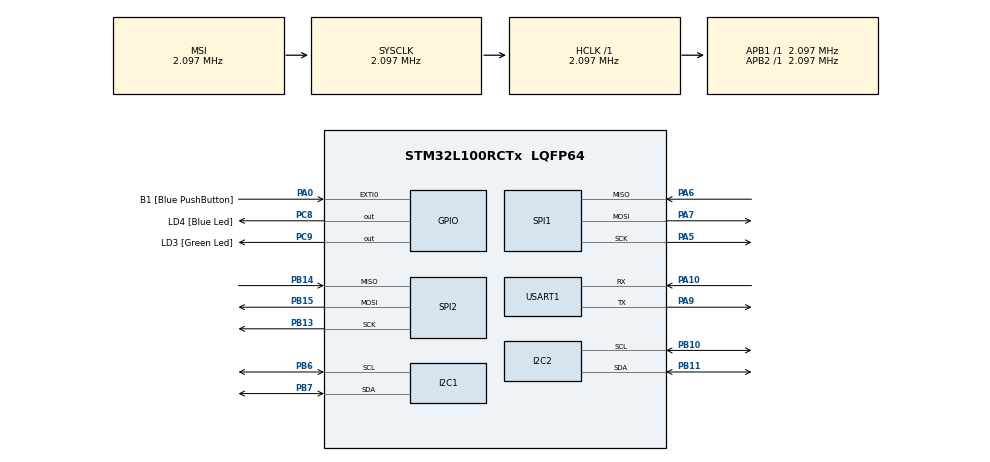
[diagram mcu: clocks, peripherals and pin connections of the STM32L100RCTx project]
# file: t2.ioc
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Mcu.Family=STM32L1
Mcu.Name=STM32L100RCTx
Mcu.Package=LQFP64
NVIC.PriorityGroup=NVIC_PRIORITYGROUP_0
PA0-WKUP1.GPIO_Label=B1 [Blue PushButton]
PA0-WKUP1.Signal=GPXTI0
PA10.Mode=Asynchronous
PA10.Signal=USART1_RX
PA13.GPIO_Label=SWDIO
PA13.Mode=Trace-Asynchronous_SW
PA13.Signal=SYS_JTMS-SWDIO
PA14.GPIO_Label=SWCLK
PA14.Mode=Trace-Asynchronous_SW
PA14.Signal=SYS_JTCK-SWCLK
PA5.Mode=Full_Duplex_Master
PA5.Signal=SPI1_SCK
PA6.Mode=Full_Duplex_Master
PA6.Signal=SPI1_MISO
PA7.Mode=Full_Duplex_Master
PA7.Signal=SPI1_MOSI
PA9.Mode=Asynchronous
PA9.Signal=USART1_TX
PB10.Mode=I2C
PB10.Signal=I2C2_SCL
PB11.Mode=I2C
PB11.Signal=I2C2_SDA
PB13.Mode=Full_Duplex_Master
PB13.Signal=SPI2_SCK
PB14.Mode=Full_Duplex_Master
PB14.Signal=SPI2_MISO
PB15.Mode=Full_Duplex_Master
PB15.Signal=SPI2_MOSI
PB3.GPIO_Label=SWO
PB3.Mode=Trace-Asynchronous_SW
PB3.Signal=SYS_JTDO-TRACESWO
PB6.Mode=I2C
PB6.Signal=I2C1_SCL
PB7.Mode=I2C
PB7.Signal=I2C1_SDA
PC14-OSC32_IN.GPIO_Label=PC14-OSC32_IN
PC14-OSC32_IN.Signal=RCC_OSC32_IN
PC15-OSC32_OUT.GPIO_Label=PC15-OSC32_OUT
PC15-OSC32_OUT.Signal=RCC_OSC32_OUT
PC8.GPIO_Label=LD4 [Blue Led]
PC8.Signal=GPIO_Output
PC9.GPIO_Label=LD3 [Green Led]
PC9.Signal=GPIO_Output
PH0-OSC_IN.GPIO_Label=PH0-OSC_IN
PH0-OSC_IN.Mode=HSE-External-Clock-Source
PH0-OSC_IN.Signal=RCC_OSC_IN
PH1-OSC_OUT.GPIO_Label=PH1-OSC_OUT
PH1-OSC_OUT.Signal=RCC_OSC_OUT
ProjectManager.TargetToolchain=TrueSTUDIO 4.3.1
RCC.AHBFreq_Value=2097000
RCC.APB1Freq_Value=2097000
RCC.APB1TimFreq_Value=2097000
RCC.APB2Freq_Value=2097000
RCC.APB2TimFreq_Value=2097000
RCC.HCLKFreq_Value=2097000
RCC.HSE_VALUE=8000000
RCC.HSI_VALUE=16000000
RCC.LSEState=RCC_LSE_ON
RCC.LSE_VALUE=32768
RCC.MSI_VALUE=2097000
RCC.PLLDIV=RCC_PLL_DIV3
RCC.PLLMUL=RCC_PLL_MUL12
RCC.PLLSourceVirtual=RCC_PLLSOURCE_HSE
RCC.SYSCLKFreq_VALUE=2097000
RCC.USBOutput=48000000
RCC.VCOOutputFreq_Value=96000000
SPI1.CalculateBaudRate-Full_Duplex_Master=1.0485 MBits/s
SPI1.Mode-Full_Duplex_Master=SPI_MODE_MASTER
SPI2.CalculateBaudRate-Full_Duplex_Master=1.0485 MBits/s
SPI2.Mode-Full_Duplex_Master=SPI_MODE_MASTER

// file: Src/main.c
/**
  ******************************************************************************
  * File Name          : main.c
  * Date               : 09/01/2015 01:42:14
  * Description        : Main program body
  ******************************************************************************
  *
  * COPYRIGHT(c) 2015 STMicroelectronics
  *
  * Redistribution and use in source and binary forms, with or without modification,
  * are permitted provided that the following conditions are met:
  *   1. Redistributions of source code must retain the above copyright notice,
  *      this list of conditions and the following disclaimer.
  *   2. Redistributions in binary form must reproduce the above copyright notice,
  *      this list of conditions and the following disclaimer in the documentation
  *      and/or other materials provided with the distribution.
  *   3. Neither the name of STMicroelectronics nor the names of its contributors
  *      may be used to endorse or promote products derived from this software
  *      without specific prior written permission.
  *
  * THIS SOFTWARE IS PROVIDED BY THE COPYRIGHT HOLDERS AND CONTRIBUTORS "AS IS"
  * AND ANY EXPRESS OR IMPLIED WARRANTIES, INCLUDING, BUT NOT LIMITED TO, THE
  * IMPLIED WARRANTIES OF MERCHANTABILITY AND FITNESS FOR A PARTICULAR PURPOSE ARE
  * DISCLAIMED. IN NO EVENT SHALL THE COPYRIGHT HOLDER OR CONTRIBUTORS BE LIABLE
  * FOR ANY DIRECT, INDIRECT, INCIDENTAL, SPECIAL, EXEMPLARY, OR CONSEQUENTIAL
  * DAMAGES (INCLUDING, BUT NOT LIMITED TO, PROCUREMENT OF SUBSTITUTE GOODS OR
  * SERVICES; LOSS OF USE, DATA, OR PROFITS; OR BUSINESS INTERRUPTION) HOWEVER
  * CAUSED AND ON ANY THEORY OF LIABILITY, WHETHER IN CONTRACT, STRICT LIABILITY,
  * OR TORT (INCLUDING NEGLIGENCE OR OTHERWISE) ARISING IN ANY WAY OUT OF THE USE
  * OF THIS SOFTWARE, EVEN IF ADVISED OF THE POSSIBILITY OF SUCH DAMAGE.
  *
  ******************************************************************************
  */

#include "stm32l1xx_hal.h"

/* USER CODE BEGIN Includes */

#include <string.h>
#include <errno.h>
#include <sys/stat.h>
#include <sys/times.h>
#include <sys/unistd.h>
/* USER CODE END Includes */

I2C_HandleTypeDef hi2c1;
I2C_HandleTypeDef hi2c2;

SPI_HandleTypeDef hspi1;
SPI_HandleTypeDef hspi2;

UART_HandleTypeDef huart1;

void SystemClock_Config(void);
static void MX_GPIO_Init(void);
static void MX_I2C1_Init(void);
static void MX_I2C2_Init(void);
static void MX_SPI1_Init(void);
static void MX_SPI2_Init(void);
static void MX_USART1_UART_Init(void);

/* USER CODE BEGIN 0 */

#include <stdio.h>
#include <stdlib.h>

// nano lib stubs

extern void abort(void)
{
	__asm volatile ("bkpt #0");
	while(1);
}

extern caddr_t _sbrk(int incr);
caddr_t _sbrk(int incr)
{
    extern char _end; /* Defined by the linker */
    static char *heap_end= 0;
    char *prev_heap_end;
    if (heap_end == 0) {
        heap_end = &_end;
    }
    prev_heap_end = heap_end;
    char *stack=  (char *)__get_MSP();
    if (heap_end + incr >= stack) {
        //write (1, "Heap and stack collision\n", 25);
        abort ();
    }
    heap_end += incr;
    return (caddr_t) prev_heap_end;
}

/*
 isatty
 Query whether output stream is a terminal. For consistency with the other minimal implementations,
 */
int _isatty(int file) {
    switch (file){
    case STDOUT_FILENO:
    case STDERR_FILENO:
    case STDIN_FILENO:
        return 1;
    default:
        //errno = ENOTTY;
        errno = EBADF;
        return 0;
    }
}

/*
 fstat
 Status of an open file. For consistency with other minimal implementations in these examples,
 all files are regarded as character special devices.
 The `sys/stat.h' header file required is distributed in the `include' subdirectory for this C library.
 */
int _fstat(int file, struct stat *st) {
    st->st_mode = S_IFCHR;
    return 0;
}

/*
 lseek
 Set position in a file. Minimal implementation:
 */
int _lseek(int file, int ptr, int dir) {
    return 0;
}

int _close(int file) {
    return -1;
}

/*
 read
 Read a character to a file. `libc' subroutines will use this system routine for input from all files, including stdin
 Returns -1 on error or blocks until the number of characters have been read.
 */
int _read(int file, char *ptr, int len) {
    int num = 0;
    switch (file) {
    case STDIN_FILENO:
    	HAL_UART_Receive(&huart1, (uint8_t *)ptr, len, 10000);
 		num= len;
        break;
    default:
        errno = EBADF;
        return -1;
    }
    return num;
}

/*
 write
 Write a character to a file. `libc' subroutines will use this system routine for output to all files, including stdout
 Returns -1 on error or number of bytes sent
 */
int _write(int file, char *ptr, int len) {
    switch (file) {
    case STDOUT_FILENO: /*stdout*/
    case STDERR_FILENO: /* stderr */
    	HAL_UART_Transmit(&huart1, (uint8_t *)ptr, len, 10000);
        break;
    default:
        errno = EBADF;
        return -1;
    }
    return len;
}

/* USER CODE END 0 */

int main(void)
{

    /* MCU Configuration----------------------------------------------------------*/

    /* Reset of all peripherals, Initializes the Flash interface and the Systick. */
    HAL_Init();

    /* Configure the system clock */
    SystemClock_Config();

    /* Initialize all configured peripherals */
    MX_GPIO_Init();
    MX_I2C1_Init();
    MX_I2C2_Init();
    MX_SPI1_Init();
    MX_SPI2_Init();
    MX_USART1_UART_Init();

    /* USER CODE BEGIN 2 */

    extern void setup();
    extern void loop();
    extern void setupcpp();
    extern void loopcpp();

    setup();
    setupcpp();

    while(1) {
        loop();
        loopcpp();
    }

    /* USER CODE END 2 */

    while (1) {
    }

}

/** System Clock Configuration
*/
void SystemClock_Config(void)
{

    RCC_OscInitTypeDef RCC_OscInitStruct;
    RCC_ClkInitTypeDef RCC_ClkInitStruct;

    __PWR_CLK_ENABLE();

    __HAL_PWR_VOLTAGESCALING_CONFIG(PWR_REGULATOR_VOLTAGE_SCALE3);

    RCC_OscInitStruct.OscillatorType = RCC_OSCILLATORTYPE_MSI;
    RCC_OscInitStruct.MSIState = RCC_MSI_ON;
    RCC_OscInitStruct.MSICalibrationValue = 0;
    RCC_OscInitStruct.MSIClockRange = RCC_MSIRANGE_5;
    RCC_OscInitStruct.PLL.PLLState = RCC_PLL_NONE;
    HAL_RCC_OscConfig(&RCC_OscInitStruct);

    RCC_ClkInitStruct.ClockType = RCC_CLOCKTYPE_SYSCLK;
    RCC_ClkInitStruct.SYSCLKSource = RCC_SYSCLKSOURCE_MSI;
    RCC_ClkInitStruct.AHBCLKDivider = RCC_SYSCLK_DIV1;
    RCC_ClkInitStruct.APB1CLKDivider = RCC_HCLK_DIV1;
    RCC_ClkInitStruct.APB2CLKDivider = RCC_HCLK_DIV1;
    HAL_RCC_ClockConfig(&RCC_ClkInitStruct, FLASH_LATENCY_0);

    __SYSCFG_CLK_ENABLE();

}

/* I2C1 init function */
void MX_I2C1_Init(void)
{

    hi2c1.Instance = I2C1;
    hi2c1.Init.ClockSpeed = 100000;
    hi2c1.Init.DutyCycle = I2C_DUTYCYCLE_2;
    hi2c1.Init.OwnAddress1 = 0;
    hi2c1.Init.AddressingMode = I2C_ADDRESSINGMODE_7BIT;
    hi2c1.Init.DualAddressMode = I2C_DUALADDRESS_DISABLED;
    hi2c1.Init.OwnAddress2 = 0;
    hi2c1.Init.GeneralCallMode = I2C_GENERALCALL_DISABLED;
    hi2c1.Init.NoStretchMode = I2C_NOSTRETCH_DISABLED;
    HAL_I2C_Init(&hi2c1);

}

/* I2C2 init function */
void MX_I2C2_Init(void)
{

    hi2c2.Instance = I2C2;
    hi2c2.Init.ClockSpeed = 100000;
    hi2c2.Init.DutyCycle = I2C_DUTYCYCLE_2;
    hi2c2.Init.OwnAddress1 = 0;
    hi2c2.Init.AddressingMode = I2C_ADDRESSINGMODE_7BIT;
    hi2c2.Init.DualAddressMode = I2C_DUALADDRESS_DISABLED;
    hi2c2.Init.OwnAddress2 = 0;
    hi2c2.Init.GeneralCallMode = I2C_GENERALCALL_DISABLED;
    hi2c2.Init.NoStretchMode = I2C_NOSTRETCH_DISABLED;
    HAL_I2C_Init(&hi2c2);

}

/* SPI1 init function */
void MX_SPI1_Init(void)
{

    hspi1.Instance = SPI1;
    hspi1.Init.Mode = SPI_MODE_MASTER;
    hspi1.Init.Direction = SPI_DIRECTION_2LINES;
    hspi1.Init.DataSize = SPI_DATASIZE_8BIT;
    hspi1.Init.CLKPolarity = SPI_POLARITY_LOW;
    hspi1.Init.CLKPhase = SPI_PHASE_1EDGE;
    hspi1.Init.NSS = SPI_NSS_SOFT;
    hspi1.Init.BaudRatePrescaler = SPI_BAUDRATEPRESCALER_2;
    hspi1.Init.FirstBit = SPI_FIRSTBIT_MSB;
    hspi1.Init.TIMode = SPI_TIMODE_DISABLED;
    hspi1.Init.CRCCalculation = SPI_CRCCALCULATION_DISABLED;
    HAL_SPI_Init(&hspi1);

}

/* SPI2 init function */
void MX_SPI2_Init(void)
{

    hspi2.Instance = SPI2;
    hspi2.Init.Mode = SPI_MODE_MASTER;
    hspi2.Init.Direction = SPI_DIRECTION_2LINES;
    hspi2.Init.DataSize = SPI_DATASIZE_8BIT;
    hspi2.Init.CLKPolarity = SPI_POLARITY_LOW;
    hspi2.Init.CLKPhase = SPI_PHASE_1EDGE;
    hspi2.Init.NSS = SPI_NSS_SOFT;
    hspi2.Init.BaudRatePrescaler = SPI_BAUDRATEPRESCALER_2;
    hspi2.Init.FirstBit = SPI_FIRSTBIT_MSB;
    hspi2.Init.TIMode = SPI_TIMODE_DISABLED;
    hspi2.Init.CRCCalculation = SPI_CRCCALCULATION_DISABLED;
    HAL_SPI_Init(&hspi2);

}

/* USART1 init function */
void MX_USART1_UART_Init(void)
{

    huart1.Instance = USART1;
    huart1.Init.BaudRate = 115200;
    huart1.Init.WordLength = UART_WORDLENGTH_8B;
    huart1.Init.StopBits = UART_STOPBITS_1;
    huart1.Init.Parity = UART_PARITY_NONE;
    huart1.Init.Mode = UART_MODE_TX_RX;
    huart1.Init.HwFlowCtl = UART_HWCONTROL_NONE;
    huart1.Init.OverSampling = UART_OVERSAMPLING_16;
    HAL_UART_Init(&huart1);

}

/** Configure pins as
        * Analog
        * Input
        * Output
        * EVENT_OUT
        * EXTI
*/
void MX_GPIO_Init(void)
{

    GPIO_InitTypeDef GPIO_InitStruct;

    /* GPIO Ports Clock Enable */
    __GPIOC_CLK_ENABLE();
    __GPIOH_CLK_ENABLE();
    __GPIOA_CLK_ENABLE();
    __GPIOB_CLK_ENABLE();

    /*Configure GPIO pin : PA0 */
    GPIO_InitStruct.Pin = GPIO_PIN_0;
    GPIO_InitStruct.Mode = GPIO_MODE_EVT_RISING;
    GPIO_InitStruct.Pull = GPIO_NOPULL;
    GPIO_InitStruct.Speed = GPIO_SPEED_MEDIUM;
    HAL_GPIO_Init(GPIOA, &GPIO_InitStruct);

    /*Configure GPIO pins : PC8 PC9 */
    GPIO_InitStruct.Pin = GPIO_PIN_8 | GPIO_PIN_9;
    GPIO_InitStruct.Mode = GPIO_MODE_OUTPUT_PP;
    GPIO_InitStruct.Pull = GPIO_NOPULL;
    GPIO_InitStruct.Speed = GPIO_SPEED_VERY_LOW;
    HAL_GPIO_Init(GPIOC, &GPIO_InitStruct);

/* USER CODE BEGIN 4 */

   /*Configure GPIO pin : PA1 as input, interrupt on rising edge */
    GPIO_InitStruct.Pin = GPIO_PIN_1;
    GPIO_InitStruct.Mode = GPIO_MODE_IT_RISING;
    GPIO_InitStruct.Pull = GPIO_PULLUP;
    GPIO_InitStruct.Speed = GPIO_SPEED_MEDIUM;
    HAL_GPIO_Init(GPIOA, &GPIO_InitStruct);

   /*Configure GPIO pin : PA2 as output */
    GPIO_InitStruct.Pin = GPIO_PIN_2;
    GPIO_InitStruct.Mode = GPIO_MODE_OUTPUT_PP;
    GPIO_InitStruct.Pull = GPIO_NOPULL;
    GPIO_InitStruct.Speed = GPIO_SPEED_MEDIUM;
    HAL_GPIO_Init(GPIOA, &GPIO_InitStruct);

    /*Configure GPIO pin : PA4 as output */
    GPIO_InitStruct.Pin = GPIO_PIN_4;
    GPIO_InitStruct.Mode = GPIO_MODE_OUTPUT_PP;
    GPIO_InitStruct.Pull = GPIO_NOPULL;
    GPIO_InitStruct.Speed = GPIO_SPEED_MEDIUM;
    HAL_GPIO_Init(GPIOA, &GPIO_InitStruct);

    /* EXTI interrupt init*/
    HAL_NVIC_SetPriority(EXTI1_IRQn, 0, 0);
    HAL_NVIC_EnableIRQ(EXTI1_IRQn);

    HAL_NVIC_SetPriority(EXTI0_IRQn, 0, 0);
    HAL_NVIC_EnableIRQ(EXTI0_IRQn);

/* USER CODE END 4 */

}

/************************ (C) COPYRIGHT STMicroelectronics *****END OF FILE****/
